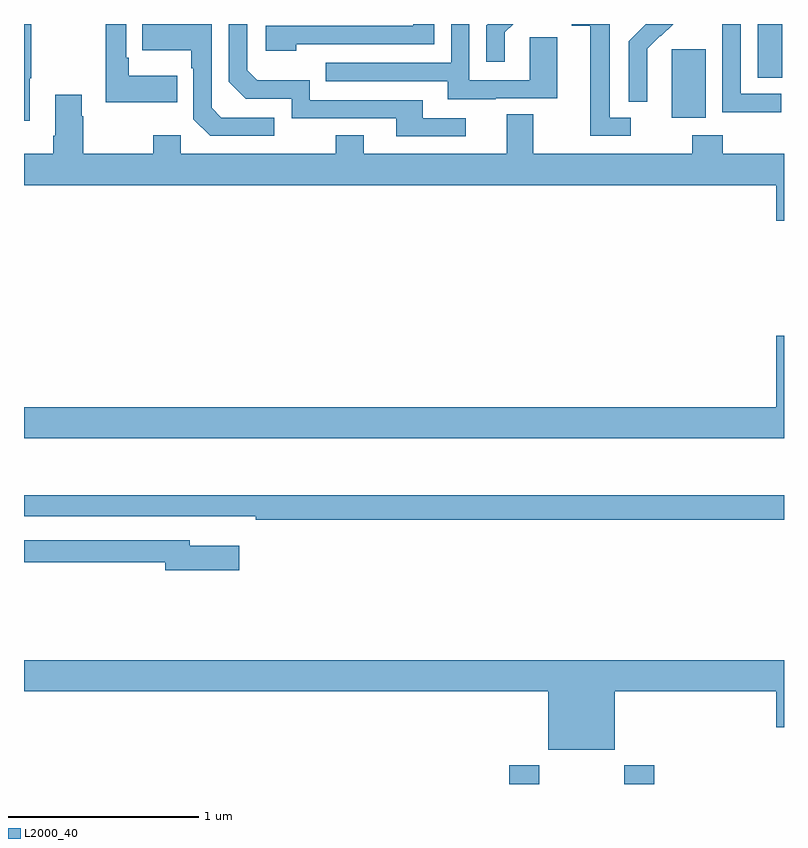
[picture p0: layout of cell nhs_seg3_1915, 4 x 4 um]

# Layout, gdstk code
import gdstk
lib = gdstk.Library(unit=1e-6, precision=1e-09)
def R(c, l, rs):  # rectangles x0, y0, x1, y1
    for r in rs: c.add(gdstk.rectangle(r[:2], r[2:], *l))
def P(c, l, *ps):  # polygons
    for p in ps: c.add(gdstk.Polygon(p, *l))
L2000_40 = (2000, 40)

nhs_seg3_1915 = lib.new_cell('nhs_seg3_1915')
R(nhs_seg3_1915, L2000_40, [(211.553,728.4,211.713,728.5), (212.158,728.4,212.318,728.5), (212.408,731.906,212.587,732.267), (212.861,732.118,212.992,732.4)])
P(nhs_seg3_1915, L2000_40, [(210.316,731.907),(210.039,731.907),(209.988,731.958),(209.988,732.4),(209.623,732.4),(209.623,732.263),(209.88,732.263),(209.88,732.167),(209.892,732.167),(209.892,731.898),(209.979,731.811),(210.316,731.811)],
  [(212.194,731.907),(212.083,731.907),(212.083,732.4),(211.883,732.4),(211.883,732.392),(211.979,732.392),(211.979,731.811),(212.194,731.811)],
  [(211.531,732.357),(211.574,732.4),(211.44,732.4),(211.434,732.394),(211.434,732.201),(211.531,732.201)],
  [(212.986,732.033),(212.772,732.033),(212.772,732.4),(212.674,732.4),(212.674,732.364),(212.676,732.364),(212.676,731.935),(212.986,731.935)],
  [(212.28,732.146),(212.279,732.146),(212.279,732.269),(212.349,732.339),(212.352,732.336),(212.416,732.4),(212.272,732.4),(212.256,732.384),(212.257,732.383),(212.184,732.31),(212.184,731.992),(212.28,731.992)],
  [(210.434,732.294),(211.158,732.294),(211.158,732.4),(211.049,732.4),(211.049,732.39),(210.273,732.39),(210.273,732.26),(210.434,732.26)],
  [(209.029,732.115),(209.037,732.115),(209.037,732.4),(209,732.4),(209,731.892),(209.029,731.892)],
  [(209.807,732.127),(209.551,732.127),(209.551,732.223),(209.538,732.223),(209.538,732.4),(209.43,732.4),(209.43,731.987),(209.807,731.987)],
  [(211.483,732.009),(211.807,732.009),(211.807,732.329),(211.662,732.329),(211.662,732.105),(211.344,732.105),(211.344,732.4),(211.248,732.4),(211.248,732.195),(210.589,732.195),(210.589,732.099),(211.229,732.099),(211.229,732.005),(211.483,732.005)],
  [(211.324,731.904),(211.099,731.904),(211.099,732),(210.504,732),(210.504,732.103),(210.227,732.103),(210.174,732.156),(210.174,732.4),(210.078,732.4),(210.078,732.096),(210.168,732.006),(210.408,732.006),(210.408,731.904),(210.959,731.904),(210.959,731.808),(211.324,731.808)],
  [(213,731.716),(212.678,731.716),(212.678,731.815),(212.518,731.815),(212.518,731.716),(211.681,731.716),(211.681,731.924),(211.541,731.924),(211.541,731.716),(210.787,731.716),(210.787,731.815),(210.64,731.815),(210.64,731.716),(209.826,731.716),(209.826,731.815),(209.68,731.815),(209.68,731.716),(209.313,731.716),(209.313,731.915),(209.305,731.915),(209.305,732.028),(209.165,732.028),(209.165,731.812),(209.153,731.812),(209.153,731.716),(209,731.716),(209,731.552),(212.96,731.552),(212.96,731.364),(213,731.364)],
  [(213,730.759),(212.96,730.759),(212.96,730.384),(209,730.384),(209,730.22),(213,730.22)],
  [(213,729.919),(209,729.919),(209,729.81),(209.968,729.81),(209.968,729.809),(210.22,729.809),(210.22,729.79),(213,729.79)],
  [(210.133,729.655),(209.872,729.655),(209.872,729.684),(209,729.684),(209,729.568),(209.744,729.568),(209.744,729.526),(210.133,729.526)],
  [(212.11,728.888),(212.96,728.888),(212.96,728.7),(213,728.7),(213,729.052),(209,729.052),(209,728.888),(211.76,728.888),(211.76,728.579),(212.11,728.579)])

lib.write_gds('nhs_seg3_1915.gds')
